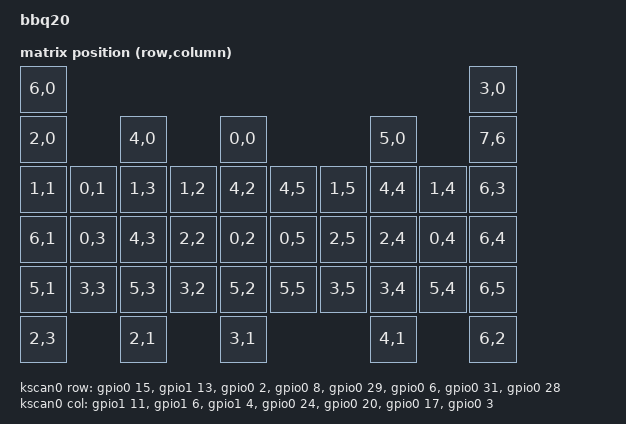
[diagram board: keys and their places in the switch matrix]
/*
 * Copyright (c) 2023 ZitaoTech
 *
 * SPDX-License-Identifier: MIT
 */

/dts-v1/;
#include <nordic/nrf52840_qiaa.dtsi>

#include <dt-bindings/led/led.h>
#include <dt-bindings/zmk/matrix_transform.h>
#include "bbq20-pinctrl.dtsi"

/ {
    model = "bbq20";
    compatible = "ZitaoTech,bbq20";

    chosen {
        zephyr,code-partition = &code_partition;
        zephyr,sram = &sram0;
        zephyr,flash = &flash0;
        zephyr,console = &cdc_acm_uart;
        zmk,battery = &vbatt;
        zmk,kscan = &kscan0;
        zmk,matrix_transform = &default_transform;
        zmk,led_indicator = &indi_led_indicator;
        zmk,backlight = &backlight;
    };

    indi_led_indicator: pwmledt {
        compatible = "pwm-leds";
        pwm_led_0 {
            pwms = <&pwm0 0 PWM_USEC(20) PWM_POLARITY_NORMAL>;
        };
    };

    backlight: pwmleds {
        compatible = "pwm-leds";
        pwm_led_0 {
            pwms = <&pwm1 0 PWM_MSEC(10) PWM_POLARITY_NORMAL>;
        };
    };

    default_transform: keymap_transform_0 {
        compatible = "zmk,matrix-transform";
        columns = <7>;
        rows = <8>;
        map = <
RC(6,0)                                                                   RC(3,0)
RC(2,0)          RC(4,0)             RC(0,0)             RC(5,0)          RC(7,6)
RC(1,1)  RC(0,1) RC(1,3) RC(1,2) RC(4,2) RC(4,5) RC(1,5) RC(4,4) RC(1,4)  RC(6,3)
RC(6,1)  RC(0,3) RC(4,3) RC(2,2) RC(0,2) RC(0,5) RC(2,5) RC(2,4) RC(0,4)  RC(6,4)
RC(5,1)  RC(3,3) RC(5,3) RC(3,2) RC(5,2) RC(5,5) RC(3,5) RC(3,4) RC(5,4)  RC(6,5)
RC(2,3)          RC(2,1)             RC(3,1)             RC(4,1)          RC(6,2)
        >; 
    };

    kscan0: kscan {
        compatible = "zmk,kscan-gpio-matrix";
        diode-direction = "col2row";
        row-gpios
            = <&gpio0 15 (GPIO_ACTIVE_HIGH | GPIO_PULL_DOWN)>
            , <&gpio1 13  (GPIO_ACTIVE_HIGH | GPIO_PULL_DOWN)>
            , <&gpio0 2 (GPIO_ACTIVE_HIGH | GPIO_PULL_DOWN)>
            , <&gpio0 8  (GPIO_ACTIVE_HIGH | GPIO_PULL_DOWN)>
            , <&gpio0 29  (GPIO_ACTIVE_HIGH | GPIO_PULL_DOWN)>
            , <&gpio0 6 (GPIO_ACTIVE_HIGH | GPIO_PULL_DOWN)>
            , <&gpio0 31 (GPIO_ACTIVE_HIGH | GPIO_PULL_DOWN)>
            , <&gpio0 28 (GPIO_ACTIVE_HIGH | GPIO_PULL_DOWN)>
            ;
        col-gpios
            = <&gpio1 11  GPIO_ACTIVE_HIGH>
            , <&gpio1 6  GPIO_ACTIVE_HIGH>
            , <&gpio1 4  GPIO_ACTIVE_HIGH>
            , <&gpio0 24 GPIO_ACTIVE_HIGH>
            , <&gpio0 20 GPIO_ACTIVE_HIGH>
            , <&gpio0 17 GPIO_ACTIVE_HIGH>
            , <&gpio0 3 GPIO_ACTIVE_HIGH>
            ;
    };

    // Node name must match original "EXT_POWER" label to preserve user settings.
    EXT_POWER {
        compatible = "zmk,ext-power-generic";
        control-gpios = <&gpio0 13 GPIO_ACTIVE_LOW>;
    };

    vbatt: vbatt {
        compatible = "zmk,battery-voltage-divider";
        io-channels = <&adc 2>;
        output-ohms = <2000000>;
        full-ohms = <(2000000 + 820000)>;
    };
};

&adc {
    status = "okay";
};

&gpiote {
    status = "okay";
};

&gpio0 {
    status = "okay";
};

&gpio1 {
    status = "okay";
};

&pwm0 {
    status = "okay";
    pinctrl-0 = <&pwm0_default>;
    pinctrl-1 = <&pwm0_sleep>;
    pinctrl-names = "default", "sleep";
};

&pwm1 {
    status = "okay";
    pinctrl-0 = <&pwm1_default>;
    pinctrl-1 = <&pwm1_sleep>;
    pinctrl-names = "default", "sleep";
};



&usbd {
    status = "okay";
    cdc_acm_uart: cdc_acm_uart {
        compatible = "zephyr,cdc-acm-uart";
    };
};

&flash0 {
    /*
     * For more information, see:
     * http://docs.zephyrproject.org/latest/devices/dts/flash_partitions.html
     */
    partitions {
        compatible = "fixed-partitions";
        #address-cells = <1>;
        #size-cells = <1>;

        sd_partition: partition@0 {
            reg = <0x00000000 0x00001000>;
        };

        code_partition: partition@1000 {
            reg = <0x00001000 0x000d3000>;
        };

        /*
         * The flash starting at 0x000d4000 and ending at
         * 0x000f3fff is reserved for use by the application.
         */

        /*
         * Storage partition will be used by FCB/LittleFS/NVS
         * if enabled.
         */
        storage_partition: partition@d4000 {
            reg = <0x000d4000 0x00020000>;
        };

        boot_partition: partition@f4000 {
            reg = <0x000f4000 0x0000c000>;
        };
    };
};
